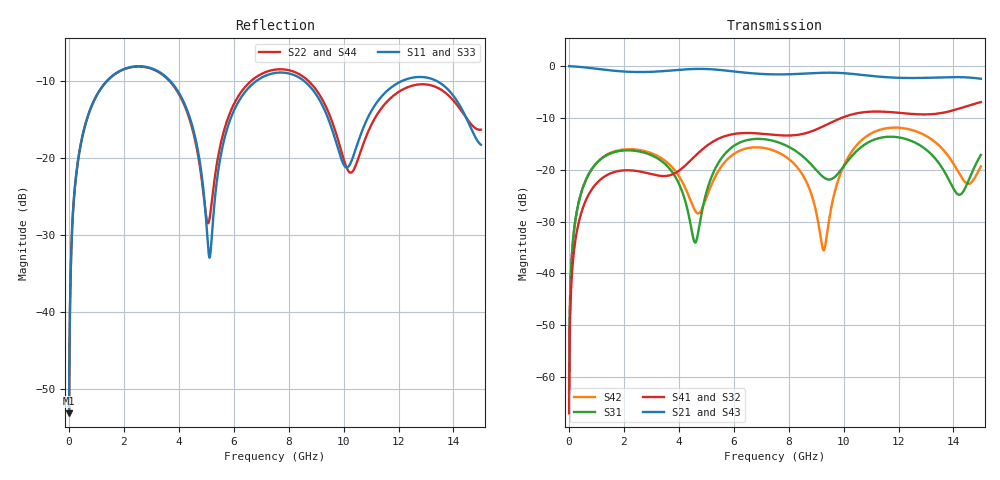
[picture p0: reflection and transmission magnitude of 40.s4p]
! Created with skrf 1.8.0 (http://scikit-rf.org).
# GHz S RI R 50.0
!freq ReS11 ImS11 ReS12 ImS12 ReS13 ImS13
! ReS14 ImS14
! ReS21 ImS21 ReS22 ImS22 ReS23 ImS23
! ReS24 ImS24
! ReS31 ImS31 ReS32 ImS32 ReS33 ImS33
! ReS34 ImS34
! ReS41 ImS41 ReS42 ImS42 ReS43 ImS43
! ReS44 ImS44
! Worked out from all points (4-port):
!   2499 points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, 5 MHz to 15 GHz, reference 50 ohm
!   strongest paths, dB at 5 MHz, 3.476 GHz, 7.19 GHz, 11.1 GHz, 15 GHz:
!     S21: 0.0, -1.0, -1.6, -1.9, -2.4
!     S43: 0.0, -1.0, -1.6, -1.9, -2.4
!     S41: -67.0, -21.2, -13.1, -8.8, -7.0
!     S32: -67.0, -21.2, -13.1, -8.8, -7.0
!     S31: -63.0, -18.8, -14.2, -14.2, -17.1
!     S42: -63.0, -18.2, -15.9, -12.7, -19.3
!   lowest |S11| = -53.1 dB at 5 MHz (marker M1), VSWR 1.00, Z = 50.2 + j0.134 ohm
!   |S11| at or under -10 dB: 3.687 GHz to 6.824 GHz (3.137 GHz wide, 59.7 % of centre); 8.561 GHz to 12.13 GHz (3.566 GHz wide, 34.5 % of centre); 13.39 GHz to end of sweep (the widest 3 of 4)
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0.005  0.00176 0.00134  0.9982 -0.00343  8.9e-05 0.000702  -8.65e-05 -0.00044
       0.9982 -0.00343  0.00176 0.00134  -8.65e-05 -0.00044  8.91e-05 0.000702
       8.9e-05 0.000702  -8.65e-05 -0.00044  0.00176 0.00134  0.9982 -0.00343
       -8.65e-05 -0.00044  8.91e-05 0.000702  0.9982 -0.00343  0.00176 0.00134
0.3126303  0.0272 0.0875  0.9628 -0.2129  0.0124 0.0414  -0.0105 -0.0255
           0.9628 -0.2129  0.0272 0.0875  -0.0105 -0.0255  0.0129 0.0413
           0.0124 0.0414  -0.0105 -0.0255  0.0272 0.0875  0.9628 -0.2129
           -0.0105 -0.0255  0.0129 0.0413  0.9628 -0.2129  0.0272 0.0875
1.469362  0.2772 0.1754  0.5366 -0.7366  0.1269 0.0638  -0.0911 -0.0042
          0.5366 -0.7366  0.2752 0.1768  -0.0912 -0.00418  0.1328 0.0555
          0.1269 0.0638  -0.0912 -0.00418  0.2772 0.1754  0.5366 -0.7366
          -0.0911 -0.0042  0.1328 0.0555  0.5366 -0.7366  0.2752 0.1767
4.902043  0.0271 -0.0543  -0.9223 -0.1753  0.0238 0.0409  -0.0277 0.1586
          -0.9223 -0.1753  0.0407 -0.0409  -0.0271 0.1587  -0.0367 0.0271
          0.0238 0.0409  -0.0271 0.1587  0.0285 -0.0532  -0.9224 -0.1749
          -0.0277 0.1586  -0.0367 0.0271  -0.9224 -0.1749  0.039 -0.0403
7.778241  0.3586 -0.00366  -0.0468 0.8303  0.1394 -0.1098  0.209 -0.048
          -0.0468 0.8303  0.3755 -0.025  0.2088 -0.0487  0.1315 -0.0469
          0.1394 -0.1098  0.2088 -0.0487  0.3609 -0.0054  -0.0468 0.8294
          0.209 -0.048  0.1315 -0.0469  -0.0468 0.8294  0.3777 -0.023
10.54189  0.1123 0.0639  0.8272 -0.0561  0.0113 0.1571  -0.0435 -0.3502
          0.8272 -0.0561  0.0948 0.033  -0.0458 -0.3496  0.0859 0.1586
          0.0113 0.1571  -0.0458 -0.3496  0.1148 0.0599  0.8275 -0.0547
          -0.0435 -0.3502  0.0859 0.1586  0.8275 -0.0547  0.0921 0.0308
15  0.1193 -0.026  -0.6893 -0.3081  -0.0648 0.1232  -0.1827 0.4104
    -0.6893 -0.3081  0.1524 -0.0112  -0.1786 0.4118  -0.0542 0.0934
    -0.0648 0.1232  -0.1786 0.4118  0.1217 -0.0294  -0.6884 -0.31
    -0.1827 0.4104  -0.0542 0.0934  -0.6884 -0.31  0.1522 -0.0125
